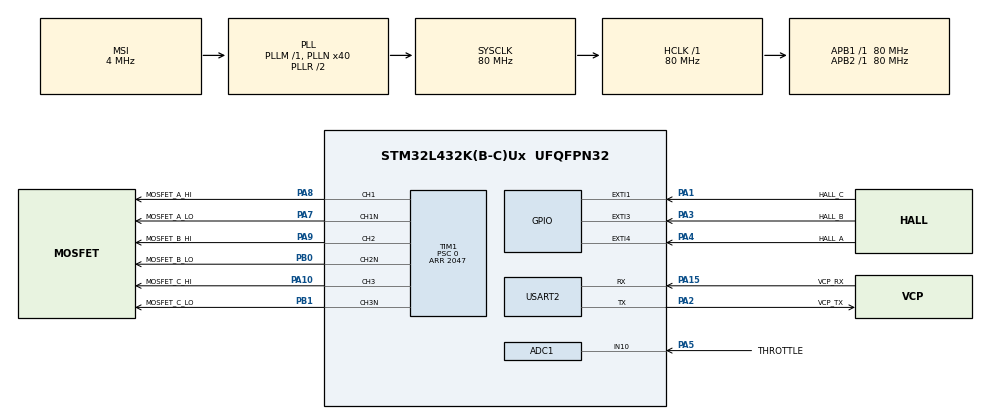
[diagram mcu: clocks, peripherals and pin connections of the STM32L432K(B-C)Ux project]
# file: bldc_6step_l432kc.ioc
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ADC1.Channel-0\#ChannelRegularConversion=ADC_CHANNEL_10
ADC1.ContinuousConvMode=DISABLE
ADC1.DMAContinuousRequests=ENABLE
ADC1.ExternalTrigConv=ADC_EXTERNALTRIG_T6_TRGO
ADC1.NbrOfConversionFlag=1
ADC1.OffsetNumber-0\#ChannelRegularConversion=ADC_OFFSET_NONE
ADC1.Overrun=ADC_OVR_DATA_PRESERVED
ADC1.Rank-0\#ChannelRegularConversion=1
ADC1.SamplingTime-0\#ChannelRegularConversion=ADC_SAMPLETIME_47CYCLES_5
ADC1.master=1
Dma.ADC1.0.Direction=DMA_PERIPH_TO_MEMORY
Dma.ADC1.0.Instance=DMA1_Channel1
Dma.ADC1.0.MemDataAlignment=DMA_MDATAALIGN_HALFWORD
Dma.ADC1.0.MemInc=DMA_MINC_ENABLE
Dma.ADC1.0.Mode=DMA_CIRCULAR
Dma.ADC1.0.PeriphDataAlignment=DMA_PDATAALIGN_HALFWORD
Dma.ADC1.0.PeriphInc=DMA_PINC_DISABLE
Dma.ADC1.0.Priority=DMA_PRIORITY_LOW
Dma.Request0=ADC1
Mcu.Family=STM32L4
Mcu.Name=STM32L432K(B-C)Ux
Mcu.Package=UFQFPN32
NVIC.ADC1_IRQn=true\:0\:0\:false\:false\:true\:true\:true\:true
NVIC.DMA1_Channel1_IRQn=true\:0\:0\:false\:false\:true\:false\:true\:true
NVIC.EXTI1_IRQn=true\:0\:0\:false\:false\:true\:true\:true\:true
NVIC.EXTI3_IRQn=true\:0\:0\:false\:false\:true\:true\:true\:true
NVIC.EXTI4_IRQn=true\:0\:0\:false\:false\:true\:true\:true\:true
NVIC.PriorityGroup=NVIC_PRIORITYGROUP_4
NVIC.TIM6_DAC_IRQn=true\:0\:0\:false\:false\:true\:true\:true\:true
PA1.GPIO_Label=HALL_C
PA1.GPIO_ModeDefaultEXTI=GPIO_MODE_IT_RISING_FALLING
PA1.GPIO_PuPd=GPIO_PULLUP
PA1.Signal=GPXTI1
PA10.GPIO_Label=MOSFET_C_HI
PA10.Signal=S_TIM1_CH3
PA13\ (JTMS-SWDIO).GPIO_Label=SWDIO
PA13\ (JTMS-SWDIO).Mode=Serial_Wire
PA13\ (JTMS-SWDIO).Signal=SYS_JTMS-SWDIO
PA14\ (JTCK-SWCLK).GPIO_Label=SWCLK
PA14\ (JTCK-SWCLK).Mode=Serial_Wire
PA14\ (JTCK-SWCLK).Signal=SYS_JTCK-SWCLK
PA15\ (JTDI).GPIO_Label=VCP_RX
PA15\ (JTDI).Mode=Asynchronous
PA15\ (JTDI).Signal=USART2_RX
PA2.GPIO_Label=VCP_TX
PA2.Mode=Asynchronous
PA2.Signal=USART2_TX
PA3.GPIO_Label=HALL_B
PA3.GPIO_ModeDefaultEXTI=GPIO_MODE_IT_RISING_FALLING
PA3.GPIO_PuPd=GPIO_PULLUP
PA3.Signal=GPXTI3
PA4.GPIO_Label=HALL_A
PA4.GPIO_ModeDefaultEXTI=GPIO_MODE_IT_RISING_FALLING
PA4.GPIO_PuPd=GPIO_PULLUP
PA4.Signal=GPXTI4
PA5.GPIO_Label=THROTTLE
PA5.Signal=ADCx_IN10
PA7.GPIO_Label=MOSFET_A_LO
PA7.Mode=PWM Generation1 CH1 CH1N
PA7.Signal=TIM1_CH1N
PA8.GPIO_Label=MOSFET_A_HI
PA8.Signal=S_TIM1_CH1
PA9.GPIO_Label=MOSFET_B_HI
PA9.Signal=S_TIM1_CH2
PB0.GPIO_Label=MOSFET_B_LO
PB0.Mode=PWM Generation2 CH2 CH2N
PB0.Signal=TIM1_CH2N
PB1.GPIO_Label=MOSFET_C_LO
PB1.Mode=PWM Generation3 CH3 CH3N
PB1.Signal=TIM1_CH3N
ProjectManager.HeapSize=0x200
ProjectManager.StackSize=0x400
ProjectManager.TargetToolchain=CMake
RCC.ADCFreq_Value=64000000
RCC.AHBFreq_Value=80000000
RCC.APB1Freq_Value=80000000
RCC.APB1TimFreq_Value=80000000
RCC.APB2Freq_Value=80000000
RCC.APB2TimFreq_Value=80000000
RCC.CortexFreq_Value=80000000
RCC.HCLKFreq_Value=80000000
RCC.HSE_VALUE=8000000
RCC.HSI16_VALUE=16000000
RCC.HSI48_VALUE=48000000
RCC.HSI_VALUE=16000000
RCC.LSE_VALUE=32768
RCC.MSI_VALUE=4000000
RCC.PLLMUL=RCC_PLLMUL_4
RCC.PLLN=40
RCC.PLLSAI1N=32
RCC.SYSCLKFreq_VALUE=80000000
RCC.SYSCLKSource=RCC_SYSCLKSOURCE_PLLCLK
RCC.USBFreq_Value=64000000
RCC.VCOOutputFreq_Value=160000000
SH.ADCx_IN10.0=ADC1_IN10,IN10-Single-Ended
SH.S_TIM1_CH1.0=TIM1_CH1,PWM Generation1 CH1 CH1N
SH.S_TIM1_CH2.0=TIM1_CH2,PWM Generation2 CH2 CH2N
SH.S_TIM1_CH3.0=TIM1_CH3,PWM Generation3 CH3 CH3N
TIM1.Channel-PWM\ Generation1\ CH1\ CH1N=TIM_CHANNEL_1
TIM1.Channel-PWM\ Generation2\ CH2\ CH2N=TIM_CHANNEL_2
TIM1.Channel-PWM\ Generation3\ CH3\ CH3N=TIM_CHANNEL_3
TIM1.CounterMode=TIM_COUNTERMODE_CENTERALIGNED1
TIM1.DeadTime=40
TIM1.OCFastMode_PWM-PWM\ Generation3\ CH3\ CH3N=TIM_OCFAST_DISABLE
TIM1.OCNPolarity_3=TIM_OCNPOLARITY_HIGH
TIM1.Period=2047
TIM1.Prescaler=0
TIM1.TIM_MasterSlaveMode=TIM_MASTERSLAVEMODE_DISABLE
TIM6.Period=40000-1
TIM6.Prescaler=1
TIM6.TIM_MasterOutputTrigger=TIM_TRGO_UPDATE
USART2.VirtualMode-Asynchronous=VM_ASYNC
VP_TIM1_VS_ClockSourceINT.Mode=Internal
VP_TIM6_VS_ClockSourceINT.Mode=Enable_Timer
board=NUCLEO-L432KC

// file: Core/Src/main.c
/* USER CODE BEGIN Header */
/**
 ******************************************************************************
 * @file           : main.c
 * @brief          : Main program body
 ******************************************************************************
 * @attention
 *
 * Copyright (c) 2025 STMicroelectronics.
 * All rights reserved.
 *
 * This software is licensed under terms that can be found in the LICENSE file
 * in the root directory of this software component.
 * If no LICENSE file comes with this software, it is provided AS-IS.
 *
 ******************************************************************************
 */
/* USER CODE END Header */
#include "main.h"

/* USER CODE BEGIN PTD */
typedef enum {
  PHASE_OFF = 0,
  PHASE_PWM_HIGH,
  PHASE_LOW_ON
} phase_state_t;
/* USER CODE END PTD */

/* USER CODE BEGIN PD */
#define CLOCKWISE        1                    // 1 = clockwise, 0 = counterclockwise (LOOKING INTO ROTOR)
#define DEBUG_LOG        0                    // 1 = enable debug telemetry prints, 0 = disable
#define MAX_DUTY         ((2047 * 95) / 100)  // max 95% duty to protect bootstrap
#define MIN_HALL_DT_US   200                  // 2 / (MIN_HALL_DT_US) = max rpm (10K RPM rn, actual motor max is 8112 RPM)
#define ADC_BUF_LEN      16                   // rolling average
#define MOTOR_POLE_PAIRS 5                    // pole pairs
#define RPM_CONST        (10000000UL / MOTOR_POLE_PAIRS)
#define RPM_TIMEOUT_US   100000               // zero rpm estimate if no hall edge for 100 ms
#define HALL_COMMUTATION_STABLE_RPM 300
#define ADC_DEADBAND     10                   // below this throttle is treated as zero
#define TARGET_DUTY_RISE_STEP 2               // max increase in target duty request per 1 kHz tick
#define TARGET_DUTY_FALL_STEP 1               // max decrease in target duty per 1 kHz tick
#define DUTY_RISE_STEP   1                    // fixed applied-duty rise step
/* USER CODE END PD */

/* USER CODE BEGIN PM */
#define PUTCHAR_PROTOTYPE int __io_putchar(int ch)
/* USER CODE END PM */

ADC_HandleTypeDef hadc1;
DMA_HandleTypeDef hdma_adc1;

TIM_HandleTypeDef htim1;
TIM_HandleTypeDef htim6;

UART_HandleTypeDef huart2;

/* USER CODE BEGIN PV */
static uint32_t cycles_per_us;
uint16_t adc_buf[ADC_BUF_LEN];
volatile uint16_t current_duty = 0;
volatile uint16_t target_duty = 0;
volatile uint16_t shaped_target_duty = 0;
volatile uint8_t hallState;
volatile uint32_t lastHall;
volatile uint16_t motor_rpm = 0;
static uint8_t duty_rise_divider = 0;
#if DEBUG_LOG
volatile uint16_t dbg_adc_raw = 0;
volatile uint16_t dbg_adc_avg = 0;
volatile uint16_t dbg_adc_scaled = 0;
volatile uint16_t dbg_target_duty = 0;
volatile uint16_t dbg_current_duty = 0;
volatile uint16_t dbg_rpm = 0;
volatile uint8_t dbg_ready = 0;
static uint8_t debug_sample_divider = 0;
#endif
/* USER CODE END PV */

void SystemClock_Config(void);
static void MX_GPIO_Init(void);
static void MX_DMA_Init(void);
static void MX_USART2_UART_Init(void);
static void MX_TIM1_Init(void);
static void MX_ADC1_Init(void);
static void MX_TIM6_Init(void);
/* USER CODE BEGIN PFP */
static inline uint16_t filtered_adc_to_duty(void);
static inline void DWT_Init(void);
static inline uint32_t micros(void);
static inline int8_t hall_index(uint8_t hall);
static inline uint8_t hall_valid_transition(uint8_t oldHall, uint8_t newHall);
static inline uint8_t readHall(void);
static inline void commutate(uint8_t hallState, uint16_t duty);
/* USER CODE END PFP */

/* USER CODE BEGIN 0 */
PUTCHAR_PROTOTYPE
{
  HAL_UART_Transmit(&huart2, (uint8_t*) &ch, 1, 0xFFFF);
  return ch;
}
// 1 kHz control loop
void HAL_TIM_PeriodElapsedCallback(TIM_HandleTypeDef *htim)
{
  if (htim == &htim6)
  {
    uint32_t now = micros();
    uint16_t raw_target_duty;
    uint16_t rpm;

    if ((now - lastHall) > RPM_TIMEOUT_US) motor_rpm = 0;
    raw_target_duty = filtered_adc_to_duty();

    if (raw_target_duty <= shaped_target_duty)
    {
      shaped_target_duty = raw_target_duty;
    }
    else
    {
      uint16_t next = shaped_target_duty + TARGET_DUTY_RISE_STEP;
      shaped_target_duty = (next > raw_target_duty) ? raw_target_duty : next;
    }

    target_duty = shaped_target_duty;
    rpm = motor_rpm;

    if (target_duty < current_duty)
    {
      uint16_t step = TARGET_DUTY_FALL_STEP;

      if (++duty_rise_divider >= 4)
      {
        duty_rise_divider = 0;

        if (current_duty > step)
        {
          uint16_t next = current_duty - step;
          current_duty = (next < target_duty) ? target_duty : next;
        }
        else
        {
          current_duty = target_duty;
        }
      }
    }
    else
    {
      if (target_duty > current_duty && ++duty_rise_divider >= 4)
      {
        duty_rise_divider = 0;

        uint16_t step = DUTY_RISE_STEP;

        uint16_t next = current_duty + step;
        current_duty = (next > target_duty) ? target_duty : next;
      }
    }

    if (target_duty > 0 && rpm == 0)
    {
      uint8_t state = hallState;
      uint16_t duty = current_duty;
      commutate(state, duty);
    }

#if DEBUG_LOG
    if (++debug_sample_divider >= 100)
    {
      debug_sample_divider = 0;
      dbg_target_duty = target_duty;
      dbg_current_duty = current_duty;
      dbg_rpm = motor_rpm;
      dbg_ready = 1;
    }
#endif
  }
}
void HAL_GPIO_EXTI_Callback(uint16_t GPIO_Pin)
{
  if (GPIO_Pin == HALL_A_Pin || GPIO_Pin == HALL_B_Pin || GPIO_Pin == HALL_C_Pin)
  {
    uint32_t now = micros();
    uint32_t dt = now - lastHall;
    uint8_t newHall = readHall();

    if (dt >= MIN_HALL_DT_US && hall_valid_transition(hallState, newHall))
    {
      lastHall = now;
      motor_rpm = RPM_CONST / dt;
      hallState = newHall;
      commutate(hallState, current_duty);
    }
  }
}
static inline uint16_t filtered_adc_to_duty(void)
{
  uint32_t sum = 0;

  for (uint32_t i = 0; i < ADC_BUF_LEN; i++) {
    sum += adc_buf[i];
  }

  uint16_t avg = sum / ADC_BUF_LEN;
  uint32_t scaled;
  uint32_t lin;
  uint32_t quad;

#if DEBUG_LOG
  dbg_adc_raw = adc_buf[0];
  dbg_adc_avg = avg;
#endif

  if (avg <= ADC_DEADBAND)
  {
#if DEBUG_LOG
    dbg_adc_scaled = 0;
#endif
    return 0;
  }

  scaled = ((uint32_t)(avg - ADC_DEADBAND) * 4095UL) / (4095UL - ADC_DEADBAND);
  lin  = (scaled * MAX_DUTY) / 4095UL;
  quad = (uint32_t)(((uint64_t)scaled * scaled * MAX_DUTY) / (4095ULL * 4095ULL));
#if DEBUG_LOG
  dbg_adc_scaled = scaled;
#endif
  return lin;
}
static inline void DWT_Init(void)
{
  CoreDebug->DEMCR |= CoreDebug_DEMCR_TRCENA_Msk;
  DWT->CYCCNT = 0;
  DWT->CTRL |= DWT_CTRL_CYCCNTENA_Msk;
  cycles_per_us = SystemCoreClock / 1000000;
}
static inline uint32_t micros(void)
{
  return DWT->CYCCNT / cycles_per_us;
}
static inline int8_t hall_index(uint8_t hall)
{
  switch (hall) {
    case 0b011: return 0;
    case 0b010: return 1;
    case 0b110: return 2;
    case 0b100: return 3;
    case 0b101: return 4;
    case 0b001: return 5;
    default:    return -1;
  }
}
static inline uint8_t hall_valid_transition(uint8_t oldHall, uint8_t newHall)
{
  int8_t oldi = hall_index(oldHall);
  int8_t newi = hall_index(newHall);

  if (oldi < 0 || newi < 0) return 0;

#if CLOCKWISE
  return newi == ((oldi + 1) % 6);
#else
  return newi == ((oldi + 5) % 6);
#endif
}
static inline uint8_t readHall(void)
{
  return ((HALL_A_GPIO_Port->IDR & HALL_A_Pin ? 1 : 0) << 2) |
         ((HALL_B_GPIO_Port->IDR & HALL_B_Pin ? 1 : 0) << 1) |
         ((HALL_C_GPIO_Port->IDR & HALL_C_Pin ? 1 : 0));
}
static inline void commutate(uint8_t hallState, uint16_t duty)
{
  TIM1->CCER &= ~(TIM_CCER_CC1E | TIM_CCER_CC1NE |
                  TIM_CCER_CC2E | TIM_CCER_CC2NE |
                  TIM_CCER_CC3E | TIM_CCER_CC3NE);
  if (duty >= 30)
  {
    switch (hallState)
    {
#if CLOCKWISE
      case 0b101:   // C+, B-, A open
        TIM1->CCR3 = duty;
        TIM1->CCR2 = 0;
        TIM1->CCER |= (TIM_CCER_CC2E | TIM_CCER_CC2NE | TIM_CCER_CC3E | TIM_CCER_CC3NE);
        break;

      case 0b100:   // A+, B-, C open
        TIM1->CCR1 = duty;
        TIM1->CCR2 = 0;
        TIM1->CCER |= (TIM_CCER_CC2E | TIM_CCER_CC2NE | TIM_CCER_CC1E | TIM_CCER_CC1NE);
        break;

      case 0b110:   // A+, C-, B open
        TIM1->CCR1 = duty;
        TIM1->CCR3 = 0;
        TIM1->CCER |= (TIM_CCER_CC1E | TIM_CCER_CC1NE | TIM_CCER_CC3E | TIM_CCER_CC3NE);
        break;

      case 0b010:   // B+, C-, A open
        TIM1->CCR2 = duty;
        TIM1->CCR3 = 0;
        TIM1->CCER |= (TIM_CCER_CC2E | TIM_CCER_CC2NE | TIM_CCER_CC3E | TIM_CCER_CC3NE);
        break;

      case 0b011:   // B+, A-, C open
        TIM1->CCR2 = duty;
        TIM1->CCR1 = 0;
        TIM1->CCER |= (TIM_CCER_CC2E | TIM_CCER_CC2NE | TIM_CCER_CC1E | TIM_CCER_CC1NE);
        break;

      case 0b001:   // C+, A-, B open
        TIM1->CCR3 = duty;
        TIM1->CCR1 = 0;
        TIM1->CCER |= (TIM_CCER_CC3E | TIM_CCER_CC3NE | TIM_CCER_CC1E | TIM_CCER_CC1NE);
        break;
  #else
      case 0b101:   // B+, C-, A open
        TIM1->CCR2 = duty;
        TIM1->CCR3 = 0;
        TIM1->CCER |= (TIM_CCER_CC2E | TIM_CCER_CC2NE | TIM_CCER_CC3E | TIM_CCER_CC3NE);
        break;

      case 0b100:   // B+, A-, C open
        TIM1->CCR2 = duty;
        TIM1->CCR1 = 0;
        TIM1->CCER |= (TIM_CCER_CC2E | TIM_CCER_CC2NE | TIM_CCER_CC1E | TIM_CCER_CC1NE);
        break;

      case 0b110:   // C+, A-, B open
        TIM1->CCR3 = duty;
        TIM1->CCR1 = 0;
        TIM1->CCER |= (TIM_CCER_CC3E | TIM_CCER_CC3NE | TIM_CCER_CC1E | TIM_CCER_CC1NE);
        break;

      case 0b010:   // C+, B-, A open
        TIM1->CCR3 = duty;
        TIM1->CCR2 = 0;
        TIM1->CCER |= (TIM_CCER_CC2E | TIM_CCER_CC2NE | TIM_CCER_CC3E | TIM_CCER_CC3NE);
        break;

      case 0b011:   // A+, B-, C open
        TIM1->CCR1 = duty;
        TIM1->CCR2 = 0;
        TIM1->CCER |= (TIM_CCER_CC2E | TIM_CCER_CC2NE | TIM_CCER_CC1E | TIM_CCER_CC1NE);
        break;

      case 0b001:   // A+, C-, B open
        TIM1->CCR1 = duty;
        TIM1->CCR3 = 0;
        TIM1->CCER |= (TIM_CCER_CC1E | TIM_CCER_CC1NE | TIM_CCER_CC3E | TIM_CCER_CC3NE);
        break;
  #endif
      case 0b000:
      case 0b111:
      default:
        TIM1->CCER &= ~(TIM_CCER_CC1E | TIM_CCER_CC1NE |
                        TIM_CCER_CC2E | TIM_CCER_CC2NE |
                        TIM_CCER_CC3E | TIM_CCER_CC3NE);
        break;
    }
  }

  TIM1->EGR = TIM_EGR_COMG; // generate commutation event
}
/* USER CODE END 0 */

int main(void)
{

  /* MCU Configuration--------------------------------------------------------*/

  /* Reset of all peripherals, Initializes the Flash interface and the Systick. */
  HAL_Init();

  /* Configure the system clock */
  SystemClock_Config();

  /* Initialize all configured peripherals */
  MX_GPIO_Init();
  MX_DMA_Init();
  MX_USART2_UART_Init();
  MX_TIM1_Init();
  MX_ADC1_Init();
  MX_TIM6_Init();
  /* USER CODE BEGIN 2 */
  HAL_SuspendTick();
  DWT_Init();

  TIM1->CR2 |= TIM_CR2_CCPC;   // enable preload
  TIM1->CR2 &= ~TIM_CR2_CCUS;  // COM only from software

  HAL_TIM_PWM_Start(&htim1, TIM_CHANNEL_1);
  HAL_TIMEx_PWMN_Start(&htim1, TIM_CHANNEL_1);
  HAL_TIM_PWM_Start(&htim1, TIM_CHANNEL_2);
  HAL_TIMEx_PWMN_Start(&htim1, TIM_CHANNEL_2);
  HAL_TIM_PWM_Start(&htim1, TIM_CHANNEL_3);
  HAL_TIMEx_PWMN_Start(&htim1, TIM_CHANNEL_3);

  TIM1->CCER &= ~(TIM_CCER_CC1E | TIM_CCER_CC1NE |
                  TIM_CCER_CC2E | TIM_CCER_CC2NE |
                  TIM_CCER_CC3E | TIM_CCER_CC3NE);

  hallState = readHall();
  lastHall = micros();
  motor_rpm = 0;
  current_duty = 0;
  target_duty = 0;
  commutate(hallState, current_duty);

  HAL_ADCEx_Calibration_Start(&hadc1, ADC_SINGLE_ENDED);
  HAL_ADC_Start_DMA(&hadc1, (uint32_t *)adc_buf, ADC_BUF_LEN);
  HAL_TIM_Base_Start_IT(&htim6);
  /* USER CODE END 2 */

  /* Infinite loop */
  /* USER CODE BEGIN WHILE */
  while (1)
  {
#if DEBUG_LOG
    if (dbg_ready)
    {
      uint16_t adc_raw;
      uint16_t adc_avg;
      uint16_t adc_scaled;
      uint16_t target;
      uint16_t duty;
      uint16_t rpm;

      __disable_irq();
      adc_raw = dbg_adc_raw;
      adc_avg = dbg_adc_avg;
      adc_scaled = dbg_adc_scaled;
      target = dbg_target_duty;
      duty = dbg_current_duty;
      rpm = dbg_rpm;
      dbg_ready = 0;
      __enable_irq();

      printf("adc_raw=%u adc_avg=%u adc_scaled=%u target_duty=%u current_duty=%u rpm=%u\r\n",
             adc_raw, adc_avg, adc_scaled, target, duty, rpm);
    }
#endif
    /* USER CODE END WHILE */

  }
}

void SystemClock_Config(void)
{
  RCC_OscInitTypeDef RCC_OscInitStruct = {0};
  RCC_ClkInitTypeDef RCC_ClkInitStruct = {0};

  /** Configure the main internal regulator output voltage
  */
  if (HAL_PWREx_ControlVoltageScaling(PWR_REGULATOR_VOLTAGE_SCALE1) != HAL_OK)
  {
    Error_Handler();
  }

  /** Initializes the RCC Oscillators according to the specified parameters
  * in the RCC_OscInitTypeDef structure.
  */
  RCC_OscInitStruct.OscillatorType = RCC_OSCILLATORTYPE_MSI;
  RCC_OscInitStruct.MSIState = RCC_MSI_ON;
  RCC_OscInitStruct.MSICalibrationValue = 0;
  RCC_OscInitStruct.MSIClockRange = RCC_MSIRANGE_6;
  RCC_OscInitStruct.PLL.PLLState = RCC_PLL_ON;
  RCC_OscInitStruct.PLL.PLLSource = RCC_PLLSOURCE_MSI;
  RCC_OscInitStruct.PLL.PLLM = 1;
  RCC_OscInitStruct.PLL.PLLN = 40;
  RCC_OscInitStruct.PLL.PLLP = RCC_PLLP_DIV7;
  RCC_OscInitStruct.PLL.PLLQ = RCC_PLLQ_DIV2;
  RCC_OscInitStruct.PLL.PLLR = RCC_PLLR_DIV2;
  if (HAL_RCC_OscConfig(&RCC_OscInitStruct) != HAL_OK)
  {
    Error_Handler();
  }

  /** Initializes the CPU, AHB and APB buses clocks
  */
  RCC_ClkInitStruct.ClockType = RCC_CLOCKTYPE_HCLK|RCC_CLOCKTYPE_SYSCLK
                              |RCC_CLOCKTYPE_PCLK1|RCC_CLOCKTYPE_PCLK2;
  RCC_ClkInitStruct.SYSCLKSource = RCC_SYSCLKSOURCE_PLLCLK;
  RCC_ClkInitStruct.AHBCLKDivider = RCC_SYSCLK_DIV1;
  RCC_ClkInitStruct.APB1CLKDivider = RCC_HCLK_DIV1;
  RCC_ClkInitStruct.APB2CLKDivider = RCC_HCLK_DIV1;

  if (HAL_RCC_ClockConfig(&RCC_ClkInitStruct, FLASH_LATENCY_4) != HAL_OK)
  {
    Error_Handler();
  }
}

static void MX_ADC1_Init(void)
{

  ADC_ChannelConfTypeDef sConfig = {0};

  /** Common config
  */
  hadc1.Instance = ADC1;
  hadc1.Init.ClockPrescaler = ADC_CLOCK_ASYNC_DIV1;
  hadc1.Init.Resolution = ADC_RESOLUTION_12B;
  hadc1.Init.DataAlign = ADC_DATAALIGN_RIGHT;
  hadc1.Init.ScanConvMode = ADC_SCAN_DISABLE;
  hadc1.Init.EOCSelection = ADC_EOC_SINGLE_CONV;
  hadc1.Init.LowPowerAutoWait = DISABLE;
  hadc1.Init.ContinuousConvMode = DISABLE;
  hadc1.Init.NbrOfConversion = 1;
  hadc1.Init.DiscontinuousConvMode = DISABLE;
  hadc1.Init.ExternalTrigConv = ADC_EXTERNALTRIG_T6_TRGO;
  hadc1.Init.ExternalTrigConvEdge = ADC_EXTERNALTRIGCONVEDGE_RISING;
  hadc1.Init.DMAContinuousRequests = ENABLE;
  hadc1.Init.Overrun = ADC_OVR_DATA_PRESERVED;
  hadc1.Init.OversamplingMode = DISABLE;
  if (HAL_ADC_Init(&hadc1) != HAL_OK)
  {
    Error_Handler();
  }

  /** Configure Regular Channel
  */
  sConfig.Channel = ADC_CHANNEL_10;
  sConfig.Rank = ADC_REGULAR_RANK_1;
  sConfig.SamplingTime = ADC_SAMPLETIME_47CYCLES_5;
  sConfig.SingleDiff = ADC_SINGLE_ENDED;
  sConfig.OffsetNumber = ADC_OFFSET_NONE;
  sConfig.Offset = 0;
  if (HAL_ADC_ConfigChannel(&hadc1, &sConfig) != HAL_OK)
  {
    Error_Handler();
  }

}

static void MX_TIM1_Init(void)
{

  TIM_ClockConfigTypeDef sClockSourceConfig = {0};
  TIM_MasterConfigTypeDef sMasterConfig = {0};
  TIM_OC_InitTypeDef sConfigOC = {0};
  TIM_BreakDeadTimeConfigTypeDef sBreakDeadTimeConfig = {0};

  htim1.Instance = TIM1;
  htim1.Init.Prescaler = 0;
  htim1.Init.CounterMode = TIM_COUNTERMODE_CENTERALIGNED1;
  htim1.Init.Period = 2047;
  htim1.Init.ClockDivision = TIM_CLOCKDIVISION_DIV1;
  htim1.Init.RepetitionCounter = 0;
  htim1.Init.AutoReloadPreload = TIM_AUTORELOAD_PRELOAD_DISABLE;
  if (HAL_TIM_Base_Init(&htim1) != HAL_OK)
  {
    Error_Handler();
  }
  sClockSourceConfig.ClockSource = TIM_CLOCKSOURCE_INTERNAL;
  if (HAL_TIM_ConfigClockSource(&htim1, &sClockSourceConfig) != HAL_OK)
  {
    Error_Handler();
  }
  if (HAL_TIM_PWM_Init(&htim1) != HAL_OK)
  {
    Error_Handler();
  }
  sMasterConfig.MasterOutputTrigger = TIM_TRGO_RESET;
  sMasterConfig.MasterOutputTrigger2 = TIM_TRGO2_RESET;
  sMasterConfig.MasterSlaveMode = TIM_MASTERSLAVEMODE_DISABLE;
  if (HAL_TIMEx_MasterConfigSynchronization(&htim1, &sMasterConfig) != HAL_OK)
  {
    Error_Handler();
  }
  sConfigOC.OCMode = TIM_OCMODE_PWM1;
  sConfigOC.Pulse = 0;
  sConfigOC.OCPolarity = TIM_OCPOLARITY_HIGH;
  sConfigOC.OCNPolarity = TIM_OCNPOLARITY_HIGH;
  sConfigOC.OCFastMode = TIM_OCFAST_DISABLE;
  sConfigOC.OCIdleState = TIM_OCIDLESTATE_RESET;
  sConfigOC.OCNIdleState = TIM_OCNIDLESTATE_RESET;
  if (HAL_TIM_PWM_ConfigChannel(&htim1, &sConfigOC, TIM_CHANNEL_1) != HAL_OK)
  {
    Error_Handler();
  }
  if (HAL_TIM_PWM_ConfigChannel(&htim1, &sConfigOC, TIM_CHANNEL_2) != HAL_OK)
  {
    Error_Handler();
  }
  if (HAL_TIM_PWM_ConfigChannel(&htim1, &sConfigOC, TIM_CHANNEL_3) != HAL_OK)
  {
    Error_Handler();
  }
  sBreakDeadTimeConfig.OffStateRunMode = TIM_OSSR_DISABLE;
  sBreakDeadTimeConfig.OffStateIDLEMode = TIM_OSSI_DISABLE;
  sBreakDeadTimeConfig.LockLevel = TIM_LOCKLEVEL_OFF;
  sBreakDeadTimeConfig.DeadTime = 40;
  sBreakDeadTimeConfig.BreakState = TIM_BREAK_DISABLE;
  sBreakDeadTimeConfig.BreakPolarity = TIM_BREAKPOLARITY_HIGH;
  sBreakDeadTimeConfig.BreakFilter = 0;
  sBreakDeadTimeConfig.Break2State = TIM_BREAK2_DISABLE;
  sBreakDeadTimeConfig.Break2Polarity = TIM_BREAK2POLARITY_HIGH;
  sBreakDeadTimeConfig.Break2Filter = 0;
  sBreakDeadTimeConfig.AutomaticOutput = TIM_AUTOMATICOUTPUT_DISABLE;
  if (HAL_TIMEx_ConfigBreakDeadTime(&htim1, &sBreakDeadTimeConfig) != HAL_OK)
  {
    Error_Handler();
  }
  HAL_TIM_MspPostInit(&htim1);

}

static void MX_TIM6_Init(void)
{

  TIM_MasterConfigTypeDef sMasterConfig = {0};

  htim6.Instance = TIM6;
  htim6.Init.Prescaler = 1;
  htim6.Init.CounterMode = TIM_COUNTERMODE_UP;
  htim6.Init.Period = 40000-1;
  htim6.Init.AutoReloadPreload = TIM_AUTORELOAD_PRELOAD_DISABLE;
  if (HAL_TIM_Base_Init(&htim6) != HAL_OK)
  {
    Error_Handler();
  }
  sMasterConfig.MasterOutputTrigger = TIM_TRGO_UPDATE;
  sMasterConfig.MasterSlaveMode = TIM_MASTERSLAVEMODE_DISABLE;
  if (HAL_TIMEx_MasterConfigSynchronization(&htim6, &sMasterConfig) != HAL_OK)
  {
    Error_Handler();
  }

}

static void MX_USART2_UART_Init(void)
{

  huart2.Instance = USART2;
  huart2.Init.BaudRate = 115200;
  huart2.Init.WordLength = UART_WORDLENGTH_8B;
  huart2.Init.StopBits = UART_STOPBITS_1;
  huart2.Init.Parity = UART_PARITY_NONE;
  huart2.Init.Mode = UART_MODE_TX_RX;
  huart2.Init.HwFlowCtl = UART_HWCONTROL_NONE;
  huart2.Init.OverSampling = UART_OVERSAMPLING_16;
  huart2.Init.OneBitSampling = UART_ONE_BIT_SAMPLE_DISABLE;
  huart2.AdvancedInit.AdvFeatureInit = UART_ADVFEATURE_NO_INIT;
  if (HAL_UART_Init(&huart2) != HAL_OK)
  {
    Error_Handler();
  }

}

static void MX_DMA_Init(void)
{

  /* DMA controller clock enable */
  __HAL_RCC_DMA1_CLK_ENABLE();

  /* DMA interrupt init */
  /* DMA1_Channel1_IRQn interrupt configuration */
  HAL_NVIC_SetPriority(DMA1_Channel1_IRQn, 0, 0);
  HAL_NVIC_EnableIRQ(DMA1_Channel1_IRQn);

}

static void MX_GPIO_Init(void)
{
  GPIO_InitTypeDef GPIO_InitStruct = {0};

  /* GPIO Ports Clock Enable */
  __HAL_RCC_GPIOC_CLK_ENABLE();
  __HAL_RCC_GPIOA_CLK_ENABLE();
  __HAL_RCC_GPIOB_CLK_ENABLE();
  __HAL_RCC_GPIOH_CLK_ENABLE();

  /*Configure GPIO pins : PC14 PC15 */
  GPIO_InitStruct.Pin = GPIO_PIN_14|GPIO_PIN_15;
  GPIO_InitStruct.Mode = GPIO_MODE_ANALOG;
  GPIO_InitStruct.Pull = GPIO_NOPULL;
  HAL_GPIO_Init(GPIOC, &GPIO_InitStruct);

  /*Configure GPIO pins : PA0 PA6 PA11 PA12 */
  GPIO_InitStruct.Pin = GPIO_PIN_0|GPIO_PIN_6|GPIO_PIN_11|GPIO_PIN_12;
  GPIO_InitStruct.Mode = GPIO_MODE_ANALOG;
  GPIO_InitStruct.Pull = GPIO_NOPULL;
  HAL_GPIO_Init(GPIOA, &GPIO_InitStruct);

  /*Configure GPIO pins : HALL_C_Pin HALL_B_Pin HALL_A_Pin */
  GPIO_InitStruct.Pin = HALL_C_Pin|HALL_B_Pin|HALL_A_Pin;
  GPIO_InitStruct.Mode = GPIO_MODE_IT_RISING_FALLING;
  GPIO_InitStruct.Pull = GPIO_PULLUP;
  HAL_GPIO_Init(GPIOA, &GPIO_InitStruct);

  /*Configure GPIO pins : PB3 PB4 PB5 PB6
                           PB7 */
  GPIO_InitStruct.Pin = GPIO_PIN_3|GPIO_PIN_4|GPIO_PIN_5|GPIO_PIN_6
                          |GPIO_PIN_7;
  GPIO_InitStruct.Mode = GPIO_MODE_ANALOG;
  GPIO_InitStruct.Pull = GPIO_NOPULL;
  HAL_GPIO_Init(GPIOB, &GPIO_InitStruct);

  /*Configure GPIO pin : PH3 */
  GPIO_InitStruct.Pin = GPIO_PIN_3;
  GPIO_InitStruct.Mode = GPIO_MODE_ANALOG;
  GPIO_InitStruct.Pull = GPIO_NOPULL;
  HAL_GPIO_Init(GPIOH, &GPIO_InitStruct);

  /* EXTI interrupt init*/
  HAL_NVIC_SetPriority(EXTI1_IRQn, 0, 0);
  HAL_NVIC_EnableIRQ(EXTI1_IRQn);

  HAL_NVIC_SetPriority(EXTI3_IRQn, 0, 0);
  HAL_NVIC_EnableIRQ(EXTI3_IRQn);

  HAL_NVIC_SetPriority(EXTI4_IRQn, 0, 0);
  HAL_NVIC_EnableIRQ(EXTI4_IRQn);

}

void Error_Handler(void)
{
    __disable_irq();
    while (1)
    {
    }
}
